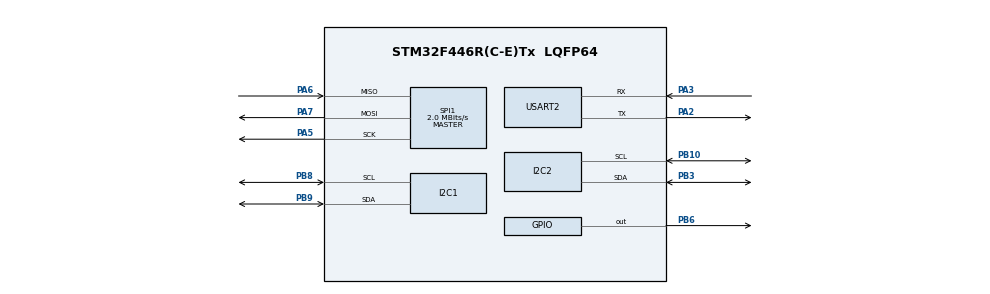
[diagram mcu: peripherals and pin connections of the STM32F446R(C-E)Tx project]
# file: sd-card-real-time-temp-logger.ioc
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FATFS._MAX_SS=4096
FATFS._USE_LFN=1
Mcu.Family=STM32F4
Mcu.Name=STM32F446R(C-E)Tx
Mcu.Package=LQFP64
NVIC.PriorityGroup=NVIC_PRIORITYGROUP_4
PA2.Mode=Asynchronous
PA2.Signal=USART2_TX
PA3.Mode=Asynchronous
PA3.Signal=USART2_RX
PA5.Mode=Full_Duplex_Master
PA5.Signal=SPI1_SCK
PA6.Mode=Full_Duplex_Master
PA6.Signal=SPI1_MISO
PA7.Mode=Full_Duplex_Master
PA7.Signal=SPI1_MOSI
PB10.Mode=I2C
PB10.Signal=I2C2_SCL
PB3.Mode=I2C
PB3.Signal=I2C2_SDA
PB6.GPIO_Speed=GPIO_SPEED_FREQ_MEDIUM
PB6.PinState=GPIO_PIN_SET
PB6.Signal=GPIO_Output
PB8.Mode=I2C
PB8.Signal=I2C1_SCL
PB9.Mode=I2C
PB9.Signal=I2C1_SDA
ProjectManager.HeapSize=0x200
ProjectManager.StackSize=0x400
ProjectManager.TargetToolchain=STM32CubeIDE
RCC.CortexFreq_Value=16000000
RCC.USBFreq_Value=96000000
RCC.VCOOutputFreq_Value=192000000
SPI1.BaudRatePrescaler=SPI_BAUDRATEPRESCALER_8
SPI1.CalculateBaudRate=2.0 MBits/s
SPI1.Direction=SPI_DIRECTION_2LINES
SPI1.Mode=SPI_MODE_MASTER
SPI1.VirtualType=VM_MASTER
USART2.VirtualMode=VM_ASYNC
VP_FATFS_VS_Generic.Mode=User_defined
board=custom

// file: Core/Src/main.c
/* USER CODE BEGIN Header */
/**
  ******************************************************************************
  * @file           : main.c
  * @brief          : Main program body
  ******************************************************************************
  * @attention
  *
  * <h2><center>&copy; Copyright (c) 2021 STMicroelectronics.
  * All rights reserved.</center></h2>
  *
  * This software component is licensed by ST under BSD 3-Clause license,
  * the "License"; You may not use this file except in compliance with the
  * License. You may obtain a copy of the License at:
  *                        opensource.org/licenses/BSD-3-Clause
  *
  ******************************************************************************
  */
/* USER CODE END Header */
#include "main.h"
#include "fatfs.h"

/* USER CODE BEGIN Includes */
#include <stdio.h>
#include <string.h>
#include "rtc.h"
#include "tmp.h"
/* USER CODE END Includes */

I2C_HandleTypeDef hi2c1;
I2C_HandleTypeDef hi2c2;

SPI_HandleTypeDef hspi1;

UART_HandleTypeDef huart2;

void SystemClock_Config(void);
static void MX_GPIO_Init(void);
static void MX_SPI1_Init(void);
static void MX_I2C1_Init(void);
static void MX_I2C2_Init(void);
static void MX_USART2_UART_Init(void);

int main(void)
{

  /* MCU Configuration--------------------------------------------------------*/

  /* Reset of all peripherals, Initializes the Flash interface and the Systick. */
  HAL_Init();

  /* Configure the system clock */
  SystemClock_Config();

  /* Initialize all configured peripherals */
  MX_GPIO_Init();
  MX_SPI1_Init();
  MX_FATFS_Init();
  MX_I2C1_Init();
  MX_I2C2_Init();
  MX_USART2_UART_Init();
  /* USER CODE BEGIN 2 */

	FATFS fs;
	FIL fil;
	UINT bw;
	char path[] = "TEMP_LOG.TXT";
	char buffer[128];

	if(f_mount(&fs, "", 1) == FR_OK)
	{
		strcpy(buffer, "mounted\n\r");
		HAL_UART_Transmit(&huart2, (uint8_t*) buffer, strlen(buffer), HAL_MAX_DELAY);
	}
	else
	{
		strcpy(buffer, "failed to mount\n\r");
		HAL_UART_Transmit(&huart2, (uint8_t*) buffer, strlen(buffer), HAL_MAX_DELAY);
	}

	uint8_t month = RTC_Get(&hi2c2, RTC_REG_MC);
	uint8_t date = RTC_Get(&hi2c2, RTC_REG_DATE);
	uint8_t hour = RTC_Get(&hi2c2, RTC_REG_HOUR);
	uint8_t minute = RTC_Get(&hi2c2, RTC_REG_MIN);
	uint8_t second = RTC_Get(&hi2c2, RTC_REG_SEC);

	sprintf(buffer, "Time: %02x-%02x %02x:%02x:%02x\n\r", month, date, hour, minute, second);
	HAL_UART_Transmit(&huart2, (uint8_t*) buffer, strlen(buffer), HAL_MAX_DELAY);

	uint8_t temp[2];

	TMP_Reset(&hi2c1);
	TMP_ShutdownEnable(&hi2c1);
	TMP_OneShotRead(&hi2c1, temp);

	int16_t val = ((int16_t)temp[0] << 4) | (temp[1] >> 4);
	float temp_c = 0.0625 * val * 100;
	sprintf(buffer, "TEMP READ: %d.%02d C\r\n",
						((int) temp_c / 100),
						((int) temp_c % 100));
	HAL_UART_Transmit(&huart2, (uint8_t*) buffer, strlen(buffer), HAL_MAX_DELAY);

  /* USER CODE END 2 */

  /* Infinite loop */
  /* USER CODE BEGIN WHILE */
  while (1)
  {
	  month = RTC_Get(&hi2c2, RTC_REG_MC);
	  date = RTC_Get(&hi2c2, RTC_REG_DATE);
	  hour = RTC_Get(&hi2c2, RTC_REG_HOUR);
	  minute = RTC_Get(&hi2c2, RTC_REG_MIN);
	  second = RTC_Get(&hi2c2, RTC_REG_SEC);

	  TMP_OneShotRead(&hi2c1, temp);
	  val = (temp[0] << 4) | (temp[1] >> 4);
	  temp_c = 0.0625 * val * 100;
	  sprintf(buffer, "%d.%02d, %02x-%02x %02x:%02x:%02x\n",
			  ((int) temp_c / 100),
			  ((int) temp_c % 100),
			  month, date, hour, minute, second);

	  f_open(&fil, path, FA_WRITE | FA_OPEN_APPEND);
	  f_write(&fil, buffer, strlen(buffer), &bw);
	  f_close(&fil);

	  HAL_Delay(59925);
    /* USER CODE END WHILE */

  }
}

void SystemClock_Config(void)
{
  RCC_OscInitTypeDef RCC_OscInitStruct = {0};
  RCC_ClkInitTypeDef RCC_ClkInitStruct = {0};

  /** Configure the main internal regulator output voltage
  */
  __HAL_RCC_PWR_CLK_ENABLE();
  __HAL_PWR_VOLTAGESCALING_CONFIG(PWR_REGULATOR_VOLTAGE_SCALE3);
  /** Initializes the RCC Oscillators according to the specified parameters
  * in the RCC_OscInitTypeDef structure.
  */
  RCC_OscInitStruct.OscillatorType = RCC_OSCILLATORTYPE_HSI;
  RCC_OscInitStruct.HSIState = RCC_HSI_ON;
  RCC_OscInitStruct.HSICalibrationValue = RCC_HSICALIBRATION_DEFAULT;
  RCC_OscInitStruct.PLL.PLLState = RCC_PLL_NONE;
  if (HAL_RCC_OscConfig(&RCC_OscInitStruct) != HAL_OK)
  {
    Error_Handler();
  }
  /** Initializes the CPU, AHB and APB buses clocks
  */
  RCC_ClkInitStruct.ClockType = RCC_CLOCKTYPE_HCLK|RCC_CLOCKTYPE_SYSCLK
                              |RCC_CLOCKTYPE_PCLK1|RCC_CLOCKTYPE_PCLK2;
  RCC_ClkInitStruct.SYSCLKSource = RCC_SYSCLKSOURCE_HSI;
  RCC_ClkInitStruct.AHBCLKDivider = RCC_SYSCLK_DIV1;
  RCC_ClkInitStruct.APB1CLKDivider = RCC_HCLK_DIV1;
  RCC_ClkInitStruct.APB2CLKDivider = RCC_HCLK_DIV1;

  if (HAL_RCC_ClockConfig(&RCC_ClkInitStruct, FLASH_LATENCY_0) != HAL_OK)
  {
    Error_Handler();
  }
}

static void MX_I2C1_Init(void)
{

  hi2c1.Instance = I2C1;
  hi2c1.Init.ClockSpeed = 100000;
  hi2c1.Init.DutyCycle = I2C_DUTYCYCLE_2;
  hi2c1.Init.OwnAddress1 = 0;
  hi2c1.Init.AddressingMode = I2C_ADDRESSINGMODE_7BIT;
  hi2c1.Init.DualAddressMode = I2C_DUALADDRESS_DISABLE;
  hi2c1.Init.OwnAddress2 = 0;
  hi2c1.Init.GeneralCallMode = I2C_GENERALCALL_DISABLE;
  hi2c1.Init.NoStretchMode = I2C_NOSTRETCH_DISABLE;
  if (HAL_I2C_Init(&hi2c1) != HAL_OK)
  {
    Error_Handler();
  }

}

static void MX_I2C2_Init(void)
{

  hi2c2.Instance = I2C2;
  hi2c2.Init.ClockSpeed = 100000;
  hi2c2.Init.DutyCycle = I2C_DUTYCYCLE_2;
  hi2c2.Init.OwnAddress1 = 0;
  hi2c2.Init.AddressingMode = I2C_ADDRESSINGMODE_7BIT;
  hi2c2.Init.DualAddressMode = I2C_DUALADDRESS_DISABLE;
  hi2c2.Init.OwnAddress2 = 0;
  hi2c2.Init.GeneralCallMode = I2C_GENERALCALL_DISABLE;
  hi2c2.Init.NoStretchMode = I2C_NOSTRETCH_DISABLE;
  if (HAL_I2C_Init(&hi2c2) != HAL_OK)
  {
    Error_Handler();
  }

}

static void MX_SPI1_Init(void)
{

  /* SPI1 parameter configuration*/
  hspi1.Instance = SPI1;
  hspi1.Init.Mode = SPI_MODE_MASTER;
  hspi1.Init.Direction = SPI_DIRECTION_2LINES;
  hspi1.Init.DataSize = SPI_DATASIZE_8BIT;
  hspi1.Init.CLKPolarity = SPI_POLARITY_LOW;
  hspi1.Init.CLKPhase = SPI_PHASE_1EDGE;
  hspi1.Init.NSS = SPI_NSS_SOFT;
  hspi1.Init.BaudRatePrescaler = SPI_BAUDRATEPRESCALER_8;
  hspi1.Init.FirstBit = SPI_FIRSTBIT_MSB;
  hspi1.Init.TIMode = SPI_TIMODE_DISABLE;
  hspi1.Init.CRCCalculation = SPI_CRCCALCULATION_DISABLE;
  hspi1.Init.CRCPolynomial = 10;
  if (HAL_SPI_Init(&hspi1) != HAL_OK)
  {
    Error_Handler();
  }

}

static void MX_USART2_UART_Init(void)
{

  huart2.Instance = USART2;
  huart2.Init.BaudRate = 115200;
  huart2.Init.WordLength = UART_WORDLENGTH_8B;
  huart2.Init.StopBits = UART_STOPBITS_1;
  huart2.Init.Parity = UART_PARITY_NONE;
  huart2.Init.Mode = UART_MODE_TX_RX;
  huart2.Init.HwFlowCtl = UART_HWCONTROL_NONE;
  huart2.Init.OverSampling = UART_OVERSAMPLING_16;
  if (HAL_UART_Init(&huart2) != HAL_OK)
  {
    Error_Handler();
  }

}

static void MX_GPIO_Init(void)
{
  GPIO_InitTypeDef GPIO_InitStruct = {0};

  /* GPIO Ports Clock Enable */
  __HAL_RCC_GPIOA_CLK_ENABLE();
  __HAL_RCC_GPIOB_CLK_ENABLE();

  /*Configure GPIO pin Output Level */
  HAL_GPIO_WritePin(GPIOB, GPIO_PIN_6, GPIO_PIN_SET);

  /*Configure GPIO pin : PB6 */
  GPIO_InitStruct.Pin = GPIO_PIN_6;
  GPIO_InitStruct.Mode = GPIO_MODE_OUTPUT_PP;
  GPIO_InitStruct.Pull = GPIO_NOPULL;
  GPIO_InitStruct.Speed = GPIO_SPEED_FREQ_MEDIUM;
  HAL_GPIO_Init(GPIOB, &GPIO_InitStruct);

}

void Error_Handler(void)
{
  __disable_irq();
  while (1)
  {
  }
}

/************************ (C) COPYRIGHT STMicroelectronics *****END OF FILE****/
